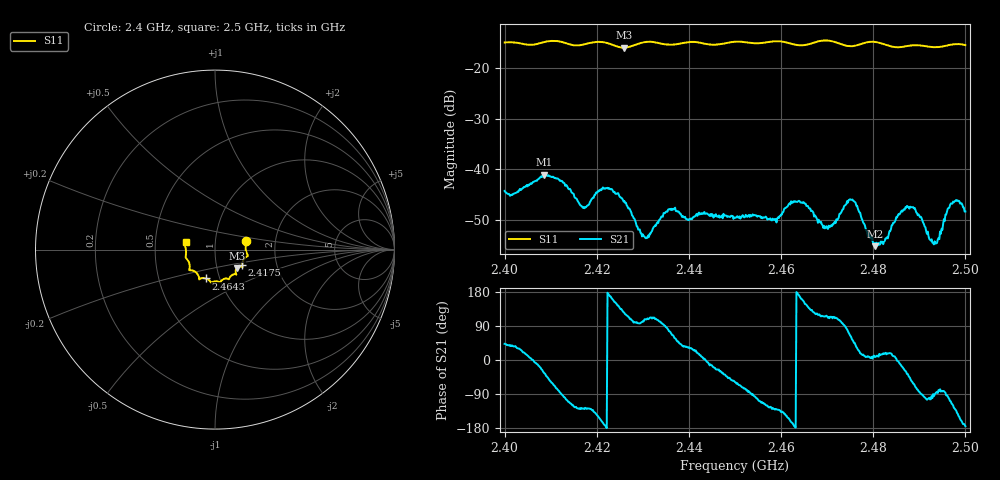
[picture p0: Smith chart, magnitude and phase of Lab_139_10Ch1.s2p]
# Hz S RI R 50
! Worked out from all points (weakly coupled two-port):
!   601 points, 2.4 GHz to 2.5 GHz, reference 50 ohm
!   highest |S21| = -41.08 dB at 2.4085 GHz (marker M1); lowest = -55.2 dB at 2.4803 GHz (marker M2)
!   lowest |S11| = -15.9 dB at 2.4258 GHz (marker M3), VSWR 1.38, Z = 62.3 - j13.2 ohm
!   |S11| at or under -10 dB: start of sweep to end of sweep
!   S12 and S22 are empty: the file has one direction only
!   S11 on the Smith chart (normalised r, x): 2.4 GHz: 1.41, +0.14; 2.4175 GHz: 1.34, -0.23; 2.4643 GHz: 0.86, -0.29; 2.5 GHz: 0.72, +0.06
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2.4e9  0.173 0.0489  0.00448 0.00413  0 0  0 0
2.4085e9  0.1794 -0.0249  0.00738 -0.00484  0 0  0 0
2.4125e9  0.1772 -0.0389  -0.00026 -0.00763  0 0  0 0
2.416667e9  0.1528 -0.0741  -0.00257 -0.00348  0 0  0 0
2.4175e9  0.1518 -0.0835  -0.00249 -0.00341  0 0  0 0
2.421833e9  0.1523 -0.0953  -0.00637 -0.00078  0 0  0 0
2.425833e9  0.1219 -0.1034  -0.00282 0.00386  0 0  0 0
2.430333e9  0.118 -0.1372  -0.000629 0.00206  0 0  0 0
2.433333e9  0.1131 -0.1372  -0.000756 0.00284  0 0  0 0
2.4365e9  0.0909 -0.1453  0.00169 0.00368  0 0  0 0
2.45e9  0.0288 -0.1809  0.00175 -0.00281  0 0  0 0
2.4585e9  -0.0207 -0.1833  -0.00197 -0.00245  0 0  0 0
2.464333e9  -0.0498 -0.1609  -0.00443 0.00146  0 0  0 0
2.466667e9  -0.0757 -0.1593  -0.00261 0.00288  0 0  0 0
2.4705e9  -0.0881 -0.165  -0.000929 0.0025  0 0  0 0
2.4755e9  -0.111 -0.1225  0.00301 0.004  0 0  0 0
2.480333e9  -0.1436 -0.112  0.00172 0.000239  0 0  0 0
2.483333e9  -0.1408 -0.09  0.00212 0.000671  0 0  0 0
2.4885e9  -0.1617 -0.0473  0.00221 -0.00358  0 0  0 0
2.493333e9  -0.1613 -0.0104  -3.56e-05 -0.00193  0 0  0 0
2.497167e9  -0.1696 0.0279  -0.00206 -0.00407  0 0  0 0
2.5e9  -0.1638 0.0431  -0.0038 -0.000344  0 0  0 0
